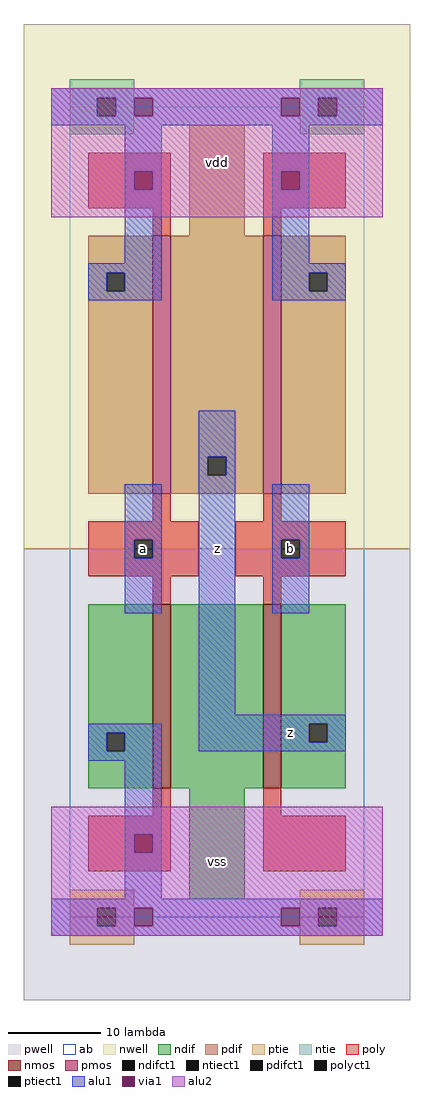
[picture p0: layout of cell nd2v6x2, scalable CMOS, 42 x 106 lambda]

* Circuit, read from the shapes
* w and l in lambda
.subckt nd2v6x2 a b vdd vss z
M1 n1 a vss vss nfet w=20 l=2
M2 z b n1 vss nfet w=20 l=2
M3 z a vdd vdd pfet w=28 l=2
M4 vdd b z vdd pfet w=28 l=2
.ends

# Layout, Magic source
magic
tech scmos
<< ab >>
rect 0 0 32 88
<< nwell >>
rect -5 40 37 97
<< pwell >>
rect -5 -9 37 40
<< poly >>
rect 2 77 11 83
rect 9 74 11 77
rect 21 77 30 83
rect 21 74 23 77
rect 9 43 11 46
rect 21 43 23 46
rect 2 41 14 43
rect 2 39 7 41
rect 9 39 14 41
rect 2 37 14 39
rect 18 41 30 43
rect 18 39 23 41
rect 25 39 30 41
rect 18 37 30 39
rect 9 34 11 37
rect 21 34 23 37
rect 9 11 11 14
rect 2 5 11 11
rect 21 11 23 14
rect 21 5 30 11
<< ndif >>
rect 2 20 9 34
rect 2 18 4 20
rect 6 18 9 20
rect 2 14 9 18
rect 11 14 21 34
rect 23 21 30 34
rect 23 19 26 21
rect 28 19 30 21
rect 23 14 30 19
rect 13 2 19 14
<< pdif >>
rect 13 74 19 86
rect 2 70 9 74
rect 2 68 4 70
rect 6 68 9 70
rect 2 46 9 68
rect 11 50 21 74
rect 11 48 15 50
rect 17 48 21 50
rect 11 46 21 48
rect 23 70 30 74
rect 23 68 26 70
rect 28 68 30 70
rect 23 46 30 68
<< alu1 >>
rect -2 89 34 90
rect -2 87 3 89
rect 5 87 7 89
rect 9 87 23 89
rect 25 87 27 89
rect 29 87 34 89
rect -2 86 34 87
rect 6 81 10 86
rect 6 79 7 81
rect 9 79 10 81
rect 6 71 10 79
rect 2 70 10 71
rect 2 68 4 70
rect 6 68 10 70
rect 2 67 10 68
rect 22 81 26 86
rect 22 79 23 81
rect 25 79 26 81
rect 22 71 26 79
rect 22 70 30 71
rect 22 68 26 70
rect 28 68 30 70
rect 22 67 30 68
rect 14 50 18 55
rect 14 48 15 50
rect 17 48 18 50
rect 6 41 10 47
rect 6 39 7 41
rect 9 39 10 41
rect 6 33 10 39
rect 14 22 18 48
rect 22 41 26 47
rect 22 39 23 41
rect 25 39 26 41
rect 22 33 26 39
rect 14 21 30 22
rect 2 20 10 21
rect 2 18 4 20
rect 6 18 10 20
rect 14 19 26 21
rect 28 19 30 21
rect 14 18 30 19
rect 2 17 10 18
rect 6 9 10 17
rect 6 7 7 9
rect 9 7 10 9
rect 6 2 10 7
rect -2 1 34 2
rect -2 -1 3 1
rect 5 -1 7 1
rect 9 -1 23 1
rect 25 -1 27 1
rect 29 -1 34 1
rect -2 -2 34 -1
<< alu2 >>
rect -2 89 34 90
rect -2 87 7 89
rect 9 87 23 89
rect 25 87 34 89
rect -2 81 34 87
rect -2 79 7 81
rect 9 79 23 81
rect 25 79 34 81
rect -2 76 34 79
rect -2 9 34 12
rect -2 7 7 9
rect 9 7 34 9
rect -2 1 34 7
rect -2 -1 7 1
rect 9 -1 23 1
rect 25 -1 34 1
rect -2 -2 34 -1
<< ptie >>
rect 0 1 7 3
rect 0 -1 3 1
rect 5 -1 7 1
rect 0 -3 7 -1
rect 25 1 32 3
rect 25 -1 27 1
rect 29 -1 32 1
rect 25 -3 32 -1
<< ntie >>
rect 0 89 7 91
rect 0 87 3 89
rect 5 87 7 89
rect 0 85 7 87
rect 25 89 32 91
rect 25 87 27 89
rect 29 87 32 89
rect 25 85 32 87
<< nmos >>
rect 9 14 11 34
rect 21 14 23 34
<< pmos >>
rect 9 46 11 74
rect 21 46 23 74
<< polyct1 >>
rect 7 39 9 41
rect 23 39 25 41
<< ndifct1 >>
rect 4 18 6 20
rect 26 19 28 21
<< ntiect1 >>
rect 3 87 5 89
rect 27 87 29 89
<< ptiect1 >>
rect 3 -1 5 1
rect 27 -1 29 1
<< pdifct1 >>
rect 4 68 6 70
rect 15 48 17 50
rect 26 68 28 70
<< via1 >>
rect 7 87 9 89
rect 23 87 25 89
rect 7 79 9 81
rect 23 79 25 81
rect 7 7 9 9
rect 7 -1 9 1
rect 23 -1 25 1
<< labels >>
rlabel polyct1 8 40 8 40 6 a
rlabel alu1 16 40 16 40 6 z
rlabel alu1 24 20 24 20 6 z
rlabel polyct1 24 40 24 40 6 b
rlabel alu2 16 6 16 6 6 vss
rlabel alu2 16 82 16 82 6 vdd
<< end >>
